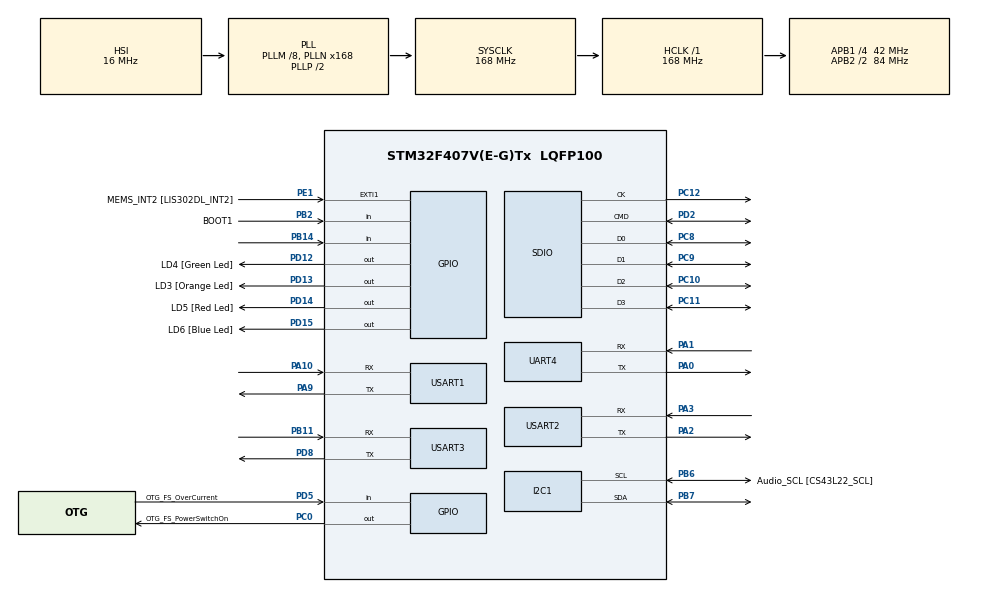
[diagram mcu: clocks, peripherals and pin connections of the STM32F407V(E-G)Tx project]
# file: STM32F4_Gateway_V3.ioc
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FATFS.BSP.number=1
FATFS._FS_LOCK=10
FATFS._FS_RPATH=2
FATFS._FS_TINY=1
FATFS._MULTI_PARTITION=1
FATFS._USE_FIND=1
FATFS._USE_FORWARD=1
FATFS._USE_LABEL=1
FATFS0.BSP.STBoard=true
FATFS0.BSP.i2caddr=0
FATFS0.BSP.i2creg=0
FATFS0.BSP.instance=PB2
FATFS0.BSP.ip=GPIO
FATFS0.BSP.mode=Input
FATFS0.BSP.name=Detect_SDIO
FREERTOS.BinarySemaphores01=myBinarySem01;myBinarySem02
FREERTOS.Queues01=myQueue01,16,uint16_t,NULL;myQueue02,16,uint16_t,NULL
FREERTOS.Tasks01=defaultTask,0,512,StartDefaultTask,Default;myTask02,0,512,StartTask02,Default;myTask03,0,512,StartTask03,Default;myTask04,0,512,StartTask04,Default
Mcu.Family=STM32F4
Mcu.Name=STM32F407V(E-G)Tx
Mcu.Package=LQFP100
NVIC.I2C1_ER_IRQn=true\:5\:0\:false\:false\:true
NVIC.I2C1_EV_IRQn=true\:5\:0\:false\:false\:true
NVIC.PriorityGroup=NVIC_PRIORITYGROUP_4
NVIC.RCC_IRQn=true\:5\:0\:false\:false\:true
NVIC.SDIO_IRQn=true\:10\:0\:true\:false\:true
NVIC.UART4_IRQn=true\:10\:0\:true\:false\:true
NVIC.USART1_IRQn=true\:10\:0\:true\:false\:true
NVIC.USART2_IRQn=true\:10\:0\:true\:false\:true
NVIC.USART3_IRQn=true\:10\:0\:true\:false\:true
PA0-WKUP.Mode=Asynchronous
PA0-WKUP.Signal=UART4_TX
PA1.Mode=Asynchronous
PA1.Signal=UART4_RX
PA10.Mode=Asynchronous
PA10.Signal=USART1_RX
PA11.GPIO_Label=OTG_FS_DM
PA11.GPIO_Mode=GPIO_MODE_AF_PP
PA11.GPIO_PuPd=GPIO_NOPULL
PA11.GPIO_Speed=GPIO_SPEED_FREQ_LOW
PA11.Signal=USB_OTG_FS_DM
PA12.GPIO_Label=OTG_FS_DP
PA12.GPIO_Mode=GPIO_MODE_AF_PP
PA12.GPIO_PuPd=GPIO_NOPULL
PA12.GPIO_Speed=GPIO_SPEED_FREQ_LOW
PA12.Signal=USB_OTG_FS_DP
PA13.GPIO_Label=SWDIO
PA13.Mode=Serial-Wire
PA13.Signal=SYS_JTMS-SWDIO
PA14.GPIO_Label=SWCLK
PA14.Mode=Serial-Wire
PA14.Signal=SYS_JTCK-SWCLK
PA2.Mode=Asynchronous
PA2.Signal=USART2_TX
PA3.Mode=Asynchronous
PA3.Signal=USART2_RX
PA4.GPIO_Label=I2S3_WS [CS43L22_LRCK]
PA4.GPIO_Mode=GPIO_MODE_AF_PP
PA4.GPIO_PuPd=GPIO_NOPULL
PA4.GPIO_Speed=GPIO_SPEED_FREQ_LOW
PA4.Signal=I2S3_WS
PA5.GPIO_Label=SPI1_SCK [LIS302DL_SCL/SPC]
PA5.GPIO_Mode=GPIO_MODE_AF_PP
PA5.GPIO_PuPd=GPIO_NOPULL
PA5.GPIO_Speed=GPIO_SPEED_FREQ_LOW
PA5.Signal=SPI1_SCK
PA6.GPIO_Label=SPI1_MISO [LIS302DL_SDO]
PA6.GPIO_Mode=GPIO_MODE_AF_PP
PA6.GPIO_PuPd=GPIO_NOPULL
PA6.GPIO_Speed=GPIO_SPEED_FREQ_LOW
PA6.Signal=SPI1_MISO
PA7.GPIO_Label=SPI1_MOSI [LIS302DL_SDA/SDI/SDO]
PA7.GPIO_Mode=GPIO_MODE_AF_PP
PA7.GPIO_PuPd=GPIO_NOPULL
PA7.GPIO_Speed=GPIO_SPEED_FREQ_LOW
PA7.Signal=SPI1_MOSI
PA9.Mode=Asynchronous
PA9.Signal=USART1_TX
PB10.GPIO_Label=CLK_IN [MP45DT02_CLK]
PB10.GPIO_Mode=GPIO_MODE_AF_PP
PB10.GPIO_PuPd=GPIO_NOPULL
PB10.GPIO_Speed=GPIO_SPEED_FREQ_LOW
PB10.Signal=I2S2_CK
PB11.Mode=Asynchronous
PB11.Signal=USART3_RX
PB14.Signal=GPIO_Input
PB2.GPIO_Label=BOOT1
PB2.GPIO_Mode=GPIO_MODE_INPUT
PB2.GPIO_PuPd=GPIO_NOPULL
PB2.Signal=GPIO_Input
PB3.GPIO_Label=SWO
PB3.Signal=SYS_JTDO-SWO
PB6.GPIO_Label=Audio_SCL [CS43L22_SCL]
PB6.GPIO_Mode=GPIO_MODE_AF_OD
PB6.GPIO_PuPd=GPIO_NOPULL
PB6.GPIO_Speed=GPIO_SPEED_FREQ_LOW
PB6.Mode=I2C
PB6.Signal=I2C1_SCL
PB7.Mode=I2C
PB7.Signal=I2C1_SDA
PC0.GPIO_Label=OTG_FS_PowerSwitchOn
PC0.GPIO_PuPd=GPIO_NOPULL
PC0.GPIO_Speed=GPIO_SPEED_FREQ_LOW
PC0.Signal=GPIO_Output
PC10.Mode=SD_4_bits_Wide_bus
PC10.Signal=SDIO_D2
PC11.Mode=SD_4_bits_Wide_bus
PC11.Signal=SDIO_D3
PC12.Mode=SD_4_bits_Wide_bus
PC12.Signal=SDIO_CK
PC14-OSC32_IN.GPIO_Label=PC14-OSC32_IN
PC14-OSC32_IN.Signal=RCC_OSC32_IN
PC15-OSC32_OUT.GPIO_Label=PC15-OSC32_OUT
PC15-OSC32_OUT.Signal=RCC_OSC32_OUT
PC3.GPIO_Label=PDM_OUT [MP45DT02_DOUT]
PC3.GPIO_Mode=GPIO_MODE_AF_PP
PC3.GPIO_PuPd=GPIO_NOPULL
PC3.GPIO_Speed=GPIO_SPEED_FREQ_LOW
PC3.Signal=I2S2_SD
PC8.Mode=SD_4_bits_Wide_bus
PC8.Signal=SDIO_D0
PC9.Mode=SD_4_bits_Wide_bus
PC9.Signal=SDIO_D1
PD12.GPIO_Label=LD4 [Green Led]
PD12.GPIO_PuPd=GPIO_NOPULL
PD12.GPIO_Speed=GPIO_SPEED_FREQ_LOW
PD12.Signal=GPIO_Output
PD13.GPIO_Label=LD3 [Orange Led]
PD13.GPIO_PuPd=GPIO_NOPULL
PD13.GPIO_Speed=GPIO_SPEED_FREQ_LOW
PD13.Signal=GPIO_Output
PD14.GPIO_Label=LD5 [Red Led]
PD14.GPIO_PuPd=GPIO_NOPULL
PD14.GPIO_Speed=GPIO_SPEED_FREQ_LOW
PD14.Signal=GPIO_Output
PD15.GPIO_Label=LD6 [Blue Led]
PD15.GPIO_PuPd=GPIO_NOPULL
PD15.GPIO_Speed=GPIO_SPEED_FREQ_LOW
PD15.Signal=GPIO_Output
PD2.Mode=SD_4_bits_Wide_bus
PD2.Signal=SDIO_CMD
PD5.GPIO_Label=OTG_FS_OverCurrent
PD5.GPIO_Mode=GPIO_MODE_INPUT
PD5.GPIO_PuPd=GPIO_NOPULL
PD5.Signal=GPIO_Input
PD8.Mode=Asynchronous
PD8.Signal=USART3_TX
PE1.GPIO_Label=MEMS_INT2 [LIS302DL_INT2]
PE1.GPIO_ModeDefaultEXTI=GPIO_MODE_EVT_RISING
PE1.GPIO_PuPd=GPIO_NOPULL
PE1.Signal=GPXTI1
PH0-OSC_IN.GPIO_Label=PH0-OSC_IN
PH0-OSC_IN.Mode=HSE-External-Oscillator
PH0-OSC_IN.Signal=RCC_OSC_IN
PH1-OSC_OUT.GPIO_Label=PH1-OSC_OUT
PH1-OSC_OUT.Mode=HSE-External-Oscillator
PH1-OSC_OUT.Signal=RCC_OSC_OUT
ProjectManager.HeapSize=0x200
ProjectManager.StackSize=0x400
ProjectManager.TargetToolchain=MDK-ARM V5
RCC.48MHZClocksFreq_Value=48000000
RCC.AHBFreq_Value=168000000
RCC.APB1CLKDivider=RCC_HCLK_DIV4
RCC.APB1Freq_Value=42000000
RCC.APB1TimFreq_Value=84000000
RCC.APB2CLKDivider=RCC_HCLK_DIV2
RCC.APB2Freq_Value=84000000
RCC.APB2TimFreq_Value=168000000
RCC.CortexFreq_Value=168000000
RCC.HCLKFreq_Value=168000000
RCC.HSE_VALUE=8000000
RCC.HSI_VALUE=16000000
RCC.LSE_VALUE=32768
RCC.PLLM=8
RCC.PLLN=168
RCC.PLLQ=7
RCC.SYSCLKFreq_VALUE=168000000
RCC.SYSCLKSource=RCC_SYSCLKSOURCE_PLLCLK
RCC.VCOOutputFreq_Value=336000000
SDIO.BusWide=SDIO_BUS_WIDE_1B
SDIO.WideMode=SDIO_BUS_WIDE_4B
VP_CRC_VS_CRC.Mode=CRC_Activate
VP_FATFS_VS_Generic.Mode=User_defined
VP_FATFS_VS_SDIO.Mode=SDIO
VP_FREERTOS_VS_ENABLE.Mode=Enabled
board=STM32F4DISCOVERY

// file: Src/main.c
/**
  ******************************************************************************
  * File Name          : main.c
  * Description        : Main program body
  ******************************************************************************
  *
  * COPYRIGHT(c) 2016 STMicroelectronics
  *
  * Redistribution and use in source and binary forms, with or without modification,
  * are permitted provided that the following conditions are met:
  *   1. Redistributions of source code must retain the above copyright notice,
  *      this list of conditions and the following disclaimer.
  *   2. Redistributions in binary form must reproduce the above copyright notice,
  *      this list of conditions and the following disclaimer in the documentation
  *      and/or other materials provided with the distribution.
  *   3. Neither the name of STMicroelectronics nor the names of its contributors
  *      may be used to endorse or promote products derived from this software
  *      without specific prior written permission.
  *
  * THIS SOFTWARE IS PROVIDED BY THE COPYRIGHT HOLDERS AND CONTRIBUTORS "AS IS"
  * AND ANY EXPRESS OR IMPLIED WARRANTIES, INCLUDING, BUT NOT LIMITED TO, THE
  * IMPLIED WARRANTIES OF MERCHANTABILITY AND FITNESS FOR A PARTICULAR PURPOSE ARE
  * DISCLAIMED. IN NO EVENT SHALL THE COPYRIGHT HOLDER OR CONTRIBUTORS BE LIABLE
  * FOR ANY DIRECT, INDIRECT, INCIDENTAL, SPECIAL, EXEMPLARY, OR CONSEQUENTIAL
  * DAMAGES (INCLUDING, BUT NOT LIMITED TO, PROCUREMENT OF SUBSTITUTE GOODS OR
  * SERVICES; LOSS OF USE, DATA, OR PROFITS; OR BUSINESS INTERRUPTION) HOWEVER
  * CAUSED AND ON ANY THEORY OF LIABILITY, WHETHER IN CONTRACT, STRICT LIABILITY,
  * OR TORT (INCLUDING NEGLIGENCE OR OTHERWISE) ARISING IN ANY WAY OUT OF THE USE
  * OF THIS SOFTWARE, EVEN IF ADVISED OF THE POSSIBILITY OF SUCH DAMAGE.
  *
  ******************************************************************************
  */
//#include "stm32f4xx_hal.h"
//#include "cmsis_os.h"
//#include "fatfs.h"

/* USER CODE BEGIN Includes */
#include "main.h"
#include "gw_task.h"
#include "eth_task.h"
#include "local_task.h"
#include "conf_def.h"

extern xbee_table_t xbee_table;
data_t data_gw_xbee, data_bt, data_eth;
recv_uart_t recv_uart_1,recv_uart_2,recv_uart_3,recv_uart_4;

osThreadId gw_task_defHandle;	//gateway task name define
osThreadId eth_task_defHandle;	//ethernet task name define
osThreadId local_task_defHandle;	//local task name define

osMessageQId que_gw_to_ethHandle;
osMessageQId q_gw_stat_to_ethHandle;
osMessageQId q_eth_stream_to_parserHandle;
osMessageQId q_control_end_dvHandle;

osSemaphoreId binarySemQueueHandle;
osSemaphoreId binarySemLocalTaskQueueHandle;
/* USER CODE END Includes */

CRC_HandleTypeDef hcrc;

I2C_HandleTypeDef hi2c1;

SD_HandleTypeDef hsd;
HAL_SD_CardInfoTypedef SDCardInfo;

UART_HandleTypeDef huart4;
UART_HandleTypeDef huart1;
UART_HandleTypeDef huart2;
UART_HandleTypeDef huart3;

osThreadId defaultTaskHandle;
osThreadId myTask02Handle;
osThreadId myTask03Handle;
osThreadId myTask04Handle;
osMessageQId myQueue01Handle;
osMessageQId myQueue02Handle;
osSemaphoreId myBinarySem01Handle;
osSemaphoreId myBinarySem02Handle;

/* USER CODE BEGIN PV */
/* Private variables ---------------------------------------------------------*/

/* USER CODE END PV */

void SystemClock_Config(void);
static void MX_GPIO_Init(void);
static void MX_USART2_UART_Init(void);
static void MX_USART3_UART_Init(void);
static void MX_CRC_Init(void);
static void MX_SDIO_SD_Init(void);
static void MX_UART4_Init(void);
static void MX_USART1_UART_Init(void);
static void MX_I2C1_Init(void);
void StartDefaultTask(void const * argument);
void StartTask02(void const * argument);
void StartTask03(void const * argument);
void StartTask04(void const * argument);

/* USER CODE BEGIN PFP */
/* Private function prototypes -----------------------------------------------*/

/* USER CODE END PFP */

int main(void)
{

  /* MCU Configuration----------------------------------------------------------*/

  /* Reset of all peripherals, Initializes the Flash interface and the Systick. */
  HAL_Init();

  /* Configure the system clock */
  SystemClock_Config();

  /* Initialize all configured peripherals */
  MX_GPIO_Init();
  MX_USART2_UART_Init();
  MX_USART3_UART_Init();
  MX_CRC_Init();
  MX_SDIO_SD_Init();
  MX_UART4_Init();
  MX_USART1_UART_Init();
  MX_I2C1_Init();

  /* USER CODE BEGIN 2 */
	__HAL_UART_ENABLE_IT(&huart1,UART_IT_RXNE);
	__HAL_UART_ENABLE_IT(&huart2,UART_IT_RXNE);
	__HAL_UART_ENABLE_IT(&huart3,UART_IT_RXNE);
	__HAL_UART_ENABLE_IT(&huart4,UART_IT_RXNE);
	memset(&recv_uart_1,0,sizeof(recv_uart_t));
	memset(&recv_uart_2,0,sizeof(recv_uart_t));
	memset(&recv_uart_3,0,sizeof(recv_uart_t));
	memset(&recv_uart_4,0,sizeof(recv_uart_t));
	memset(&xbee_table,0,sizeof(xbee_table_t));

	print_init(&huart2);
  /* USER CODE END 2 */

  /* Create the semaphores(s) */
  /* definition and creation of myBinarySem01 */
  osSemaphoreDef(myBinarySem01);
  myBinarySem01Handle = osSemaphoreCreate(osSemaphore(myBinarySem01), 1);

  /* definition and creation of myBinarySem02 */
  osSemaphoreDef(myBinarySem02);
  myBinarySem02Handle = osSemaphoreCreate(osSemaphore(myBinarySem02), 1);

	osSemaphoreDef(binarySemQueue);
  binarySemQueueHandle = osSemaphoreCreate(osSemaphore(binarySemQueue), 1);

	osSemaphoreDef(binarySemLocalTaskQueue);
  binarySemLocalTaskQueueHandle = osSemaphoreCreate(osSemaphore(binarySemLocalTaskQueue), 1);

  /* Create the thread(s) */
  /* definition and creation of defaultTask */
//  osThreadDef(defaultTask, StartDefaultTask, osPriorityNormal, 0, 512);
//  defaultTaskHandle = osThreadCreate(osThread(defaultTask), NULL);

//  /* definition and creation of myTask02 */
//  osThreadDef(myTask02, StartTask02, osPriorityNormal, 0, 512);
//  myTask02Handle = osThreadCreate(osThread(myTask02), NULL);

  /* definition and creation of myTask03 */
//  osThreadDef(myTask03, StartTask03, osPriorityNormal, 0, 512);
//  myTask03Handle = osThreadCreate(osThread(myTask03), NULL);

//  /* definition and creation of myTask04 */
//  osThreadDef(myTask04, StartTask04, osPriorityNormal, 0, 512);
//  myTask04Handle = osThreadCreate(osThread(myTask04), NULL);

	/* USER CODE BEGIN TASK DEFINE*/

	osThreadDef(local_task_def, local_task, osPriorityNormal, 0, 256);
  local_task_defHandle = osThreadCreate(osThread(local_task_def), NULL);

	/* definition and creation of gw_task */
  osThreadDef(gw_task_def, gw_task, osPriorityNormal, 0, 512);
  gw_task_defHandle = osThreadCreate(osThread(gw_task_def), NULL);

	//osThreadDef(eth_task_def, eth_task, osPriorityNormal, 0, 1024);
	osThreadDef(eth_task_def, eth_task, osPriorityNormal, 0, 2048);//2048
	eth_task_defHandle = osThreadCreate(osThread(eth_task_def), NULL);

//
//

	/* USER CODE END TASK DEFINE */

  /* Create the queue(s) */
  /* definition and creation of myQueue01 */
//  osMessageQDef(myQueue01, 16, uint16_t);
//  myQueue01Handle = osMessageCreate(osMessageQ(myQueue01), NULL);

//  /* definition and creation of myQueue02 */
//  osMessageQDef(myQueue02, 16, uint16_t);
//  myQueue02Handle = osMessageCreate(osMessageQ(myQueue02), NULL);

	osMessageQDef(que_gw_to_eth, 10, client_dv_t);
	que_gw_to_ethHandle = osMessageCreate(osMessageQ(que_gw_to_eth), NULL);
	if(que_gw_to_ethHandle==NULL){
		print_debug(0,"[ERROR]{Queue}que_gw_to_ethHandle is created fail.\n");
	}

	osMessageQDef(q_gw_stat_to_eth, 10, client_stat_tb_t);
	q_gw_stat_to_ethHandle = osMessageCreate(osMessageQ(q_gw_stat_to_eth), NULL);
	if(que_gw_to_ethHandle==NULL){
		print_debug(0,"[ERROR]{Queue}q_gw_stat_to_ethHandle is created fail.\n");
	}

	osMessageQDef(q_eth_stream_to_parser, 2, data_t);
	q_eth_stream_to_parserHandle = osMessageCreate(osMessageQ(q_eth_stream_to_parser), NULL);
	if(q_eth_stream_to_parserHandle==NULL){
		print_debug(0,"[ERROR]{Queue}q_eth_stream_to_parserHandle is created fail.\n");
	}

	//osMessageQId q_control_end_dvHandle;
	osMessageQDef(q_control_end_dv, 5, ctl_dv_t);
	q_control_end_dvHandle = osMessageCreate(osMessageQ(q_control_end_dv), NULL);
	if(q_control_end_dvHandle==NULL){
		print_debug(0,"[ERROR]{Queue}q_control_end_dvHandle is created fail.\n");
	}

  /* Start scheduler */
  osKernelStart();

  /* We should never get here as control is now taken by the scheduler */

  /* Infinite loop */
  while (1)
  {

  }

}

/** System Clock Configuration
*/
void SystemClock_Config(void)
{

  RCC_OscInitTypeDef RCC_OscInitStruct;
  RCC_ClkInitTypeDef RCC_ClkInitStruct;

  __HAL_RCC_PWR_CLK_ENABLE();

  __HAL_PWR_VOLTAGESCALING_CONFIG(PWR_REGULATOR_VOLTAGE_SCALE1);

  RCC_OscInitStruct.OscillatorType = RCC_OSCILLATORTYPE_HSI;
  RCC_OscInitStruct.HSIState = RCC_HSI_ON;
  RCC_OscInitStruct.HSICalibrationValue = 16;
  RCC_OscInitStruct.PLL.PLLState = RCC_PLL_ON;
  RCC_OscInitStruct.PLL.PLLSource = RCC_PLLSOURCE_HSI;
  RCC_OscInitStruct.PLL.PLLM = 8;
  RCC_OscInitStruct.PLL.PLLN = 168;
  RCC_OscInitStruct.PLL.PLLP = RCC_PLLP_DIV2;
  RCC_OscInitStruct.PLL.PLLQ = 7;
  HAL_RCC_OscConfig(&RCC_OscInitStruct);

  RCC_ClkInitStruct.ClockType = RCC_CLOCKTYPE_HCLK|RCC_CLOCKTYPE_SYSCLK
                              |RCC_CLOCKTYPE_PCLK1|RCC_CLOCKTYPE_PCLK2;
  RCC_ClkInitStruct.SYSCLKSource = RCC_SYSCLKSOURCE_PLLCLK;
  RCC_ClkInitStruct.AHBCLKDivider = RCC_SYSCLK_DIV1;
  RCC_ClkInitStruct.APB1CLKDivider = RCC_HCLK_DIV4;
  RCC_ClkInitStruct.APB2CLKDivider = RCC_HCLK_DIV2;
  HAL_RCC_ClockConfig(&RCC_ClkInitStruct, FLASH_LATENCY_5);

  HAL_SYSTICK_Config(HAL_RCC_GetHCLKFreq()/1000);

  HAL_SYSTICK_CLKSourceConfig(SYSTICK_CLKSOURCE_HCLK);

  /* SysTick_IRQn interrupt configuration */
  HAL_NVIC_SetPriority(SysTick_IRQn, 15, 0);
}

/* CRC init function */
void MX_CRC_Init(void)
{

  hcrc.Instance = CRC;
  HAL_CRC_Init(&hcrc);

}

/* I2C1 init function */
void MX_I2C1_Init(void)
{

  hi2c1.Instance = I2C1;
  hi2c1.Init.ClockSpeed = 100000;
  hi2c1.Init.DutyCycle = I2C_DUTYCYCLE_2;
  hi2c1.Init.OwnAddress1 = 0;
  hi2c1.Init.AddressingMode = I2C_ADDRESSINGMODE_7BIT;
  hi2c1.Init.DualAddressMode = I2C_DUALADDRESS_DISABLE;
  hi2c1.Init.OwnAddress2 = 0;
  hi2c1.Init.GeneralCallMode = I2C_GENERALCALL_DISABLE;
  hi2c1.Init.NoStretchMode = I2C_NOSTRETCH_DISABLE;
  HAL_I2C_Init(&hi2c1);

}

/* SDIO init function */
void MX_SDIO_SD_Init(void)
{

  hsd.Instance = SDIO;
  hsd.Init.ClockEdge = SDIO_CLOCK_EDGE_RISING;
  hsd.Init.ClockBypass = SDIO_CLOCK_BYPASS_DISABLE;
  hsd.Init.ClockPowerSave = SDIO_CLOCK_POWER_SAVE_DISABLE;
  hsd.Init.BusWide = SDIO_BUS_WIDE_1B;
  hsd.Init.HardwareFlowControl = SDIO_HARDWARE_FLOW_CONTROL_DISABLE;
  hsd.Init.ClockDiv = 0;

}

/* UART4 init function */
void MX_UART4_Init(void)
{

  huart4.Instance = UART4;
  huart4.Init.BaudRate = 115200;
  huart4.Init.WordLength = UART_WORDLENGTH_8B;
  huart4.Init.StopBits = UART_STOPBITS_1;
  huart4.Init.Parity = UART_PARITY_NONE;
  huart4.Init.Mode = UART_MODE_TX_RX;
  huart4.Init.HwFlowCtl = UART_HWCONTROL_NONE;
  huart4.Init.OverSampling = UART_OVERSAMPLING_16;
  HAL_UART_Init(&huart4);

}

/* USART1 init function */
void MX_USART1_UART_Init(void)
{

  huart1.Instance = USART1;
  huart1.Init.BaudRate = 115200;
  huart1.Init.WordLength = UART_WORDLENGTH_8B;
  huart1.Init.StopBits = UART_STOPBITS_1;
  huart1.Init.Parity = UART_PARITY_NONE;
  huart1.Init.Mode = UART_MODE_TX_RX;
  huart1.Init.HwFlowCtl = UART_HWCONTROL_NONE;
  huart1.Init.OverSampling = UART_OVERSAMPLING_16;
  HAL_UART_Init(&huart1);

}

/* USART2 init function */
void MX_USART2_UART_Init(void)
{

  huart2.Instance = USART2;
  huart2.Init.BaudRate = 115200;
  huart2.Init.WordLength = UART_WORDLENGTH_8B;
  huart2.Init.StopBits = UART_STOPBITS_1;
  huart2.Init.Parity = UART_PARITY_NONE;
  huart2.Init.Mode = UART_MODE_TX_RX;
  huart2.Init.HwFlowCtl = UART_HWCONTROL_NONE;
  huart2.Init.OverSampling = UART_OVERSAMPLING_16;
  HAL_UART_Init(&huart2);

}

/* USART3 init function */
void MX_USART3_UART_Init(void)
{

  huart3.Instance = USART3;
  huart3.Init.BaudRate = 115200;
  huart3.Init.WordLength = UART_WORDLENGTH_8B;
  huart3.Init.StopBits = UART_STOPBITS_1;
  huart3.Init.Parity = UART_PARITY_NONE;
  huart3.Init.Mode = UART_MODE_TX_RX;
  huart3.Init.HwFlowCtl = UART_HWCONTROL_NONE;
  huart3.Init.OverSampling = UART_OVERSAMPLING_16;
  HAL_UART_Init(&huart3);

}

/** Configure pins as
        * Analog
        * Input
        * Output
        * EVENT_OUT
        * EXTI
     PC3   ------> I2S2_SD
     PA4   ------> I2S3_WS
     PA5   ------> SPI1_SCK
     PA6   ------> SPI1_MISO
     PA7   ------> SPI1_MOSI
     PB10   ------> I2S2_CK
     PA11   ------> USB_OTG_FS_DM
     PA12   ------> USB_OTG_FS_DP
*/
void MX_GPIO_Init(void)
{

  GPIO_InitTypeDef GPIO_InitStruct;

  /* GPIO Ports Clock Enable */
  __HAL_RCC_GPIOC_CLK_ENABLE();
  __HAL_RCC_GPIOH_CLK_ENABLE();
  __HAL_RCC_GPIOA_CLK_ENABLE();
  __HAL_RCC_GPIOB_CLK_ENABLE();
  __HAL_RCC_GPIOD_CLK_ENABLE();
  __HAL_RCC_GPIOE_CLK_ENABLE();

  /*Configure GPIO pin Output Level */
  HAL_GPIO_WritePin(OTG_FS_PowerSwitchOn_GPIO_Port, OTG_FS_PowerSwitchOn_Pin, GPIO_PIN_RESET);

  /*Configure GPIO pin Output Level */
  HAL_GPIO_WritePin(GPIOD, LD4_Pin|LD3_Pin|LD5_Pin|LD6_Pin, GPIO_PIN_RESET);

  /*Configure GPIO pin : OTG_FS_PowerSwitchOn_Pin */
  GPIO_InitStruct.Pin = OTG_FS_PowerSwitchOn_Pin;
  GPIO_InitStruct.Mode = GPIO_MODE_OUTPUT_PP;
  GPIO_InitStruct.Pull = GPIO_NOPULL;
  GPIO_InitStruct.Speed = GPIO_SPEED_FREQ_LOW;
  HAL_GPIO_Init(OTG_FS_PowerSwitchOn_GPIO_Port, &GPIO_InitStruct);

  /*Configure GPIO pin : PDM_OUT_Pin */
  GPIO_InitStruct.Pin = PDM_OUT_Pin;
  GPIO_InitStruct.Mode = GPIO_MODE_AF_PP;
  GPIO_InitStruct.Pull = GPIO_NOPULL;
  GPIO_InitStruct.Speed = GPIO_SPEED_FREQ_LOW;
  GPIO_InitStruct.Alternate = GPIO_AF5_SPI2;
  HAL_GPIO_Init(PDM_OUT_GPIO_Port, &GPIO_InitStruct);

  /*Configure GPIO pin : PA4 */
  GPIO_InitStruct.Pin = GPIO_PIN_4;
  GPIO_InitStruct.Mode = GPIO_MODE_AF_PP;
  GPIO_InitStruct.Pull = GPIO_NOPULL;
  GPIO_InitStruct.Speed = GPIO_SPEED_FREQ_LOW;
  GPIO_InitStruct.Alternate = GPIO_AF6_SPI3;
  HAL_GPIO_Init(GPIOA, &GPIO_InitStruct);

  /*Configure GPIO pins : PA5 PA6 PA7 */
  GPIO_InitStruct.Pin = GPIO_PIN_5|GPIO_PIN_6|GPIO_PIN_7;
  GPIO_InitStruct.Mode = GPIO_MODE_AF_PP;
  GPIO_InitStruct.Pull = GPIO_NOPULL;
  GPIO_InitStruct.Speed = GPIO_SPEED_FREQ_LOW;
  GPIO_InitStruct.Alternate = GPIO_AF5_SPI1;
  HAL_GPIO_Init(GPIOA, &GPIO_InitStruct);

  /*Configure GPIO pins : BOOT1_Pin PB14 */
  GPIO_InitStruct.Pin = BOOT1_Pin|GPIO_PIN_14;
  GPIO_InitStruct.Mode = GPIO_MODE_INPUT;
  GPIO_InitStruct.Pull = GPIO_NOPULL;
  HAL_GPIO_Init(GPIOB, &GPIO_InitStruct);

  /*Configure GPIO pin : CLK_IN_Pin */
  GPIO_InitStruct.Pin = CLK_IN_Pin;
  GPIO_InitStruct.Mode = GPIO_MODE_AF_PP;
  GPIO_InitStruct.Pull = GPIO_NOPULL;
  GPIO_InitStruct.Speed = GPIO_SPEED_FREQ_LOW;
  GPIO_InitStruct.Alternate = GPIO_AF5_SPI2;
  HAL_GPIO_Init(CLK_IN_GPIO_Port, &GPIO_InitStruct);

  /*Configure GPIO pins : LD4_Pin LD3_Pin LD5_Pin LD6_Pin */
  GPIO_InitStruct.Pin = LD4_Pin|LD3_Pin|LD5_Pin|LD6_Pin;
  GPIO_InitStruct.Mode = GPIO_MODE_OUTPUT_PP;
  GPIO_InitStruct.Pull = GPIO_NOPULL;
  GPIO_InitStruct.Speed = GPIO_SPEED_FREQ_LOW;
  HAL_GPIO_Init(GPIOD, &GPIO_InitStruct);

  /*Configure GPIO pins : OTG_FS_DM_Pin OTG_FS_DP_Pin */
  GPIO_InitStruct.Pin = OTG_FS_DM_Pin|OTG_FS_DP_Pin;
  GPIO_InitStruct.Mode = GPIO_MODE_AF_PP;
  GPIO_InitStruct.Pull = GPIO_NOPULL;
  GPIO_InitStruct.Speed = GPIO_SPEED_FREQ_LOW;
  GPIO_InitStruct.Alternate = GPIO_AF10_OTG_FS;
  HAL_GPIO_Init(GPIOA, &GPIO_InitStruct);

  /*Configure GPIO pin : OTG_FS_OverCurrent_Pin */
  GPIO_InitStruct.Pin = OTG_FS_OverCurrent_Pin;
  GPIO_InitStruct.Mode = GPIO_MODE_INPUT;
  GPIO_InitStruct.Pull = GPIO_NOPULL;
  HAL_GPIO_Init(OTG_FS_OverCurrent_GPIO_Port, &GPIO_InitStruct);

  /*Configure GPIO pin : MEMS_INT2_Pin */
  GPIO_InitStruct.Pin = MEMS_INT2_Pin;
  GPIO_InitStruct.Mode = GPIO_MODE_EVT_RISING;
  GPIO_InitStruct.Pull = GPIO_NOPULL;
  HAL_GPIO_Init(MEMS_INT2_GPIO_Port, &GPIO_InitStruct);

}

/* StartDefaultTask function */
void StartDefaultTask(void const * argument)
{
  /* init code for FATFS */
  MX_FATFS_Init();

  /* USER CODE BEGIN 5 */
  /* Infinite loop */
  for(;;)
  {
		//print_debug_semph(0,"StartDefaultTask\n");
		HAL_GPIO_TogglePin(GPIOD,LD3_Pin);
    osDelay(1000);
  }
  /* USER CODE END 5 */
}

/* StartTask02 function */
void StartTask02(void const * argument)
{
  /* USER CODE BEGIN StartTask02 */
  /* Infinite loop */
  for(;;)
  {
		HAL_GPIO_TogglePin(GPIOD,LD4_Pin);
    osDelay(900);
  }
  /* USER CODE END StartTask02 */
}

/* StartTask03 function */
void StartTask03(void const * argument)
{
  /* USER CODE BEGIN StartTask03 */
  /* Infinite loop */
  for(;;)
  {
		HAL_GPIO_TogglePin(GPIOD,LD5_Pin);
    osDelay(800);
  }
  /* USER CODE END StartTask03 */
}

/* StartTask04 function */
void StartTask04(void const * argument)
{
  /* USER CODE BEGIN StartTask04 */
  /* Infinite loop */
  for(;;)
  {
		HAL_GPIO_TogglePin(GPIOD,LD6_Pin);
    osDelay(700);
  }
  /* USER CODE END StartTask04 */
}

/************************ (C) COPYRIGHT STMicroelectronics *****END OF FILE****/
